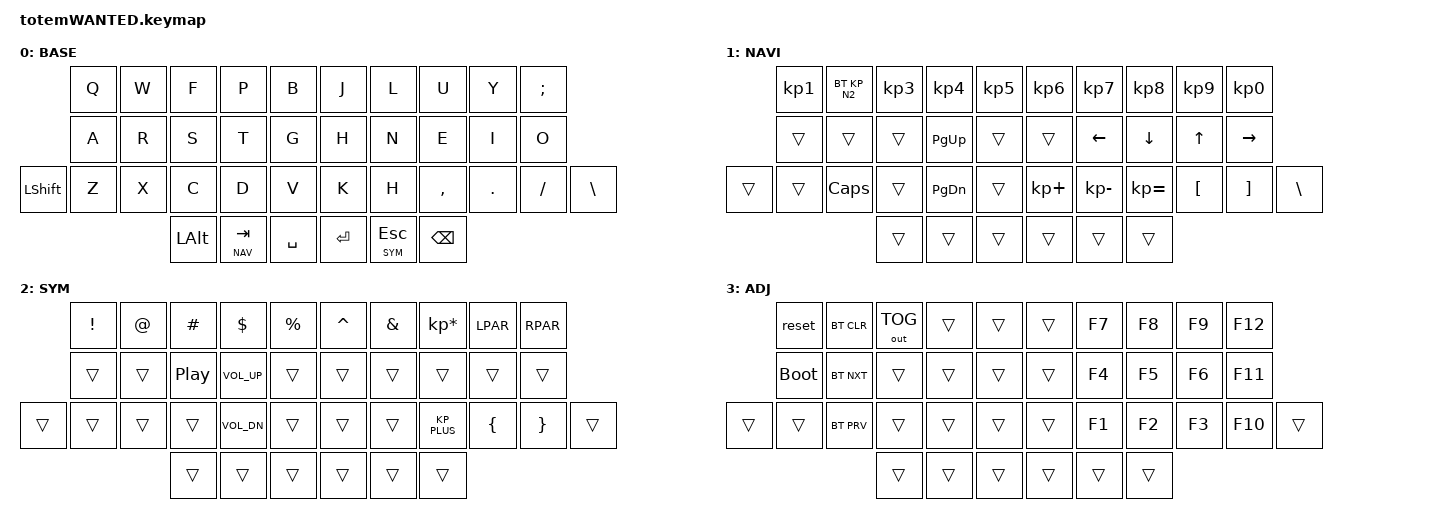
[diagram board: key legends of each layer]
//
//                                                        ▀▀▀▀▀     ▀▀▀▀▀          ▀▀█▀▀
//                                                        ▄▀▀▀▄  ▄  ▄▀▀▀▄  ▄  ▄▀▀▀▄  █  ▄▀▀▀▄
//                                                        █   █  █  █   █  █  █   █  █  █   █
//                                                         ▀▀▀   █   ▀▀▀   █   ▀▀▀   ▀   ▀▀▀
//                                                               █      ▄▄▄█▄▄▄    █   █  
//                                                               ▀      █  █  █     █▄█
//                                                             ▀▀▀▀▀    █  █  █      ▀
//                                                                      ▀  ▀  ▀
//
// ▄▄▄▄▄▄▄▄▄▄▄▄▄▄▄▄▄▄▄▄▄▄▄▄▄▄▄▄▄▄▄▄▄▄▄▄▄▄▄▄▄▄▄▄▄▄▄▄▄▄▄▄▄▄▄▄▄▄▄▄▄▄▄▄▄▄▄▄▄▄▄▄▄▄▄▄▄▄▄▄▄▄▄▄▄▄▄▄▄▄▄▄▄▄▄▄▄▄▄▄▄▄▄▄▄▄▄▄▄▄▄▄▄▄▄▄▄▄▄▄▄▄▄▄▄▄▄▄▄▄▄▄▄▄▄▄▄▄▄▄▄▄▄▄▄▄▄▄▄
       

#include <behaviors.dtsi>
#include <dt-bindings/zmk/keys.h>
#include <dt-bindings/zmk/bt.h>
#include <dt-bindings/zmk/outputs.h>

#define BASE 0
#define NAV  1
#define SYM  2
#define ADJ  3

&mt {
  quick-tap-ms = <100>;
  global-quick-tap;
  flavor = "tap-preferred";
  tapping-term-ms = <170>;
};

/ {
    combos {
            compatible = "zmk,combos";
            combo_esc {
                timeout-ms = <50>;
                key-positions = <0 1>;
                bindings = <&kp ESC>;
            };
    };

    macros {
        gif: gif {
            label = "giphy";
            compatible = "zmk,behavior-macro";
            #binding-cells = <0>;
            bindings
                = <&macro_press &kp LSHFT>
                , <&macro_tap &kp N2>
                , <&macro_release &kp LSHFT>
                , <&macro_tap &kp G &kp I &kp F>
                ;
        };
    };

        keymap {
                compatible = "zmk,keymap";
// ▄▄▄▄▄▄▄▄▄▄▄▄▄▄▄▄▄▄▄▄▄▄▄▄▄▄▄▄▄▄▄▄▄▄▄▄▄▄▄▄▄▄▄▄▄▄▄▄▄▄▄▄▄▄▄▄▄▄▄▄▄▄▄▄▄▄▄▄▄▄▄▄▄▄▄▄▄▄▄▄▄▄▄▄▄▄▄▄▄▄▄▄▄▄▄▄▄▄▄▄▄▄▄▄▄▄▄▄▄▄▄▄▄▄▄▄▄▄▄▄▄▄▄▄▄▄▄▄▄▄▄▄▄▄▄▄▄▄▄▄▄▄▄▄▄▄▄▄▄

                base_layer {
// ┏━━━━━━━━━━━━━━━━━━━━━━━━━━━━━━━━━━━━━━━┓
label= "BASE"                              ;
// ┗━━━━━━━━━━━━━━━━━━━━━━━━━━━━━━━━━━━━━━━┛
//             ┏━━━━━━━━━━━┳━━━━━━━━━━━┳━━━━━━━━━━━┳━━━━━━━━━━━┳━━━━━━━━━━━┓   ┏━━━━━━━━━━━┳━━━━━━━━━━━┳━━━━━━━━━━━┳━━━━━━━━━━━┳━━━━━━━━━━━┓
//             ┃     Q     ┃     W     ┃     F     ┃     P     ┃     B     ┃   ┃     J     ┃     L     ┃     U     ┃     Y     ┃     ;     ┃
//             ┣━━━━━━━━━━━╋━━━━━━━━━━━╋━━━━━━━━━━━╋━━━━━━━━━━━╋━━━━━━━━━━━┫   ┣━━━━━━━━━━━╋━━━━━━━━━━━╋━━━━━━━━━━━╋━━━━━━━━━━━╋━━━━━━━━━━━┫
//             ┃     A     ┃     R     ┃     S     ┃     T     ┃     G     ┃   ┃     H     ┃     N     ┃     E     ┃     I     ┃     O     ┃
// ┏━━━━━━━━━━━╋━━━━━━━━━━━╋━━━━━━━━━━━╋━━━━━━━━━━━╋━━━━━━━━━━━╋━━━━━━━━━━━┫   ┣━━━━━━━━━━━╋━━━━━━━━━━━╋━━━━━━━━━━━╋━━━━━━━━━━━╋━━━━━━━━━━━╋━━━━━━━━━━━┓
// ┃   SHIFT   ┃     Z     ┃     X     ┃     C     ┃     D     ┃     V     ┃   ┃     K     ┃     M     ┃     ,     ┃     .     ┃     /     ┃     \     ┃
// ┗━━━━━━━━━━━┻━━━━━━━━━━━┻━━━━━━━━━━━╋━━━━━━━━━━━╋━━━━━━━━━━━╋━━━━━━━━━━━┫   ┣━━━━━━━━━━━╋━━━━━━━━━━━╋━━━━━━━━━━━╋━━━━━━━━━━━┻━━━━━━━━━━━┻━━━━━━━━━━━┛
//                                     ┃    ALT    ┃    NAV    ┃    SPC    ┃   ┃   ENTER   ┃    ESC    ┃   BSPC    ┃
//                                     ┗━━━━━━━━━━━┻━━━━━━━━━━━┻━━━━━━━━━━━┛   ┗━━━━━━━━━━━┻━━━━━━━━━━━┻━━━━━━━━━━━┛
 bindings = <
// ╷           ╷           ╷           ╷           ╷           ╷           ╷   ╷           ╷           ╷           ╷           ╷           ╷           ╷

                &kp Q       &kp W       &kp F       &kp P       &kp B           &kp J       &kp L       &kp U       &kp Y       &kp SEMI
                &kp A       &kp R       &kp S       &kp T       &kp G           &kp H       &kp N       &kp E       &kp I       &kp O
    &kp LSHIFT  &kp Z       &kp X       &kp C       &kp D       &kp V           &kp K       &kp H       &kp COMMA   &kp DOT     &kp FSLH    &kp BSLH
                                        &kp LALT  &lt NAV TAB   &kp SPACE       &kp RET     &lt SYM ESC &kp BSPC
                        >;
                };

// ▄▄▄▄▄▄▄▄▄▄▄▄▄▄▄▄▄▄▄▄▄▄▄▄▄▄▄▄▄▄▄▄▄▄▄▄▄▄▄▄▄▄▄▄▄▄▄▄▄▄▄▄▄▄▄▄▄▄▄▄▄▄▄▄▄▄▄▄▄▄▄▄▄▄▄▄▄▄▄▄▄▄▄▄▄▄▄▄▄▄▄▄▄▄▄▄▄▄▄▄▄▄▄▄▄▄▄▄▄▄▄▄▄▄▄▄▄▄▄▄▄▄▄▄▄▄▄▄▄▄▄▄▄▄▄▄▄▄▄▄▄▄▄▄▄▄▄▄▄


                nav_layer {
// ┏━━━━━━━━━━━━━━━━━━━━━━━━━━━━━━━━━━━━━━━┓
label= "NAVI"                              ;
// ┗━━━━━━━━━━━━━━━━━━━━━━━━━━━━━━━━━━━━━━━┛
//             ┏━━━━━━━━━━━┳━━━━━━━━━━━┳━━━━━━━━━━━┳━━━━━━━━━━━┳━━━━━━━━━━━┓   ┏━━━━━━━━━━━┳━━━━━━━━━━━┳━━━━━━━━━━━┳━━━━━━━━━━━┳━━━━━━━━━━━┓
//             ┃    1      ┃     2     ┃     3     ┃     4     ┃     5     ┃   ┃     6     ┃     7     ┃     8     ┃     9     ┃     0     ┃
//             ┣━━━━━━━━━━━╋━━━━━━━━━━━╋━━━━━━━━━━━╋━━━━━━━━━━━╋━━━━━━━━━━━┫   ┣━━━━━━━━━━━╋━━━━━━━━━━━╋━━━━━━━━━━━╋━━━━━━━━━━━╋━━━━━━━━━━━┫
//             ┃           ┃           ┃           ┃   P UP    ┃           ┃   ┃           ┃   LEFT    ┃    DOWN   ┃     UP    ┃   RIGHT   ┃
// ┏━━━━━━━━━━━╋━━━━━━━━━━━╋━━━━━━━━━━━╋━━━━━━━━━━━╋━━━━━━━━━━━╋━━━━━━━━━━━┫   ┣━━━━━━━━━━━╋━━━━━━━━━━━╋━━━━━━━━━━━╋━━━━━━━━━━━╋━━━━━━━━━━━╋━━━━━━━━━━━┓
// ┃           ┃           ┃   C LOCK  ┃           ┃  P DOWN   ┃           ┃   ┃     +     ┃     -     ┃     =     ┃     [     ┃     ]     ┃     \     ┃
// ┗━━━━━━━━━━━┻━━━━━━━━━━━┻━━━━━━━━━━━╋━━━━━━━━━━━╋━━━━━━━━━━━╋━━━━━━━━━━━┫   ┣━━━━━━━━━━━╋━━━━━━━━━━━╋━━━━━━━━━━━╋━━━━━━━━━━━┻━━━━━━━━━━━┻━━━━━━━━━━━┛
//                                     ┃           ┃    TAB    ┃    SPC    ┃   ┃           ┃           ┃           ┃
//                                     ┗━━━━━━━━━━━┻━━━━━━━━━━━┻━━━━━━━━━━━┛   ┗━━━━━━━━━━━┻━━━━━━━━━━━┻━━━━━━━━━━━┛
 bindings = <
// ╷           ╷           ╷           ╷           ╷           ╷           ╷   ╷           ╷           ╷           ╷           ╷           ╷           ╷

                &kp KP_N1   &bt KP_N2   &kp KP_N3   &kp KP_N4   &kp KP_N5       &kp KP_N6   &kp KP_N7   &kp KP_N8   &kp KP_N9   &kp KP_N0
                &trans      &trans      &trans      &kp PG_UP   &trans          &trans      &kp LEFT    &kp DOWN    &kp UP      &kp RIGHT
    &trans      &trans      &kp CAPS    &trans      &kp PG_DN   &trans         &kp KP_PLUS &kp KP_MINUS &kp KP_EQUAL &kp LBKT    &kp RBKT      &kp BSLH      
                                        &trans      &trans      &trans          &trans      &trans      &trans      
                        >;
                };

// ▄▄▄▄▄▄▄▄▄▄▄▄▄▄▄▄▄▄▄▄▄▄▄▄▄▄▄▄▄▄▄▄▄▄▄▄▄▄▄▄▄▄▄▄▄▄▄▄▄▄▄▄▄▄▄▄▄▄▄▄▄▄▄▄▄▄▄▄▄▄▄▄▄▄▄▄▄▄▄▄▄▄▄▄▄▄▄▄▄▄▄▄▄▄▄▄▄▄▄▄▄▄▄▄▄▄▄▄▄▄▄▄▄▄▄▄▄▄▄▄▄▄▄▄▄▄▄▄▄▄▄▄▄▄▄▄▄▄▄▄▄▄▄▄▄▄▄▄▄


                sim_layer {
// ┏━━━━━━━━━━━━━━━━━━━━━━━━━━━━━━━━━━━━━━━┓
label= "SYM"                               ;
// ┗━━━━━━━━━━━━━━━━━━━━━━━━━━━━━━━━━━━━━━━┛
//             ┏━━━━━━━━━━━┳━━━━━━━━━━━┳━━━━━━━━━━━┳━━━━━━━━━━━┳━━━━━━━━━━━┓   ┏━━━━━━━━━━━┳━━━━━━━━━━━┳━━━━━━━━━━━┳━━━━━━━━━━━┳━━━━━━━━━━━┓
//             ┃     !     ┃     @     ┃     #     ┃     $     ┃     %     ┃   ┃     ^     ┃     &     ┃     *     ┃     (     ┃     )     ┃
//             ┣━━━━━━━━━━━╋━━━━━━━━━━━╋━━━━━━━━━━━╋━━━━━━━━━━━╋━━━━━━━━━━━┫   ┣━━━━━━━━━━━╋━━━━━━━━━━━╋━━━━━━━━━━━╋━━━━━━━━━━━╋━━━━━━━━━━━┫
//             ┃           ┃           ┃    PLAY   ┃    VOL+   ┃           ┃   ┃           ┃           ┃           ┃           ┃           ┃
// ┏━━━━━━━━━━━╋━━━━━━━━━━━╋━━━━━━━━━━━╋━━━━━━━━━━━╋━━━━━━━━━━━╋━━━━━━━━━━━┫   ┣━━━━━━━━━━━╋━━━━━━━━━━━╋━━━━━━━━━━━╋━━━━━━━━━━━╋━━━━━━━━━━━╋━━━━━━━━━━━┓
// ┃           ┃           ┃           ┃           ┃    VOL-   ┃           ┃   ┃           ┃     _     ┃     +     ┃     {     ┃     }     ┃           ┃
// ┗━━━━━━━━━━━┻━━━━━━━━━━━┻━━━━━━━━━━━╋━━━━━━━━━━━╋━━━━━━━━━━━╋━━━━━━━━━━━┫   ┣━━━━━━━━━━━╋━━━━━━━━━━━╋━━━━━━━━━━━╋━━━━━━━━━━━┻━━━━━━━━━━━┻━━━━━━━━━━━┛
//                                     ┃           ┃           ┃           ┃   ┃           ┃           ┃           ┃
//                                     ┗━━━━━━━━━━━┻━━━━━━━━━━━┻━━━━━━━━━━━┛   ┗━━━━━━━━━━━┻━━━━━━━━━━━┻━━━━━━━━━━━┛
 bindings = <
// ╷           ╷           ╷           ╷           ╷           ╷           ╷   ╷           ╷           ╷           ╷           ╷           ╷           ╷

                &kp EXCL    &kp AT      &kp HASH    &kp DLLR    &kp PRCNT       &kp CARET   &kp AMPS   &kp KP_MULTIPLY &LPAR   &RPAR 
                &trans      &trans      &kp C_PP   &kp C_VOL_UP &trans          &trans      &trans     &trans      &trans      &trans       
    &trans      &trans      &trans      &trans     &kp C_VOL_DN &trans          &trans      &trans     &KP_PLUS    &kp LBRC    &kp RBRC     &trans         
                                        &trans      &trans      &trans          &trans      &trans     &trans      
                        >;
                };

// ▄▄▄▄▄▄▄▄▄▄▄▄▄▄▄▄▄▄▄▄▄▄▄▄▄▄▄▄▄▄▄▄▄▄▄▄▄▄▄▄▄▄▄▄▄▄▄▄▄▄▄▄▄▄▄▄▄▄▄▄▄▄▄▄▄▄▄▄▄▄▄▄▄▄▄▄▄▄▄▄▄▄▄▄▄▄▄▄▄▄▄▄▄▄▄▄▄▄▄▄▄▄▄▄▄▄▄▄▄▄▄▄▄▄▄▄▄▄▄▄▄▄▄▄▄▄▄▄▄▄▄▄▄▄▄▄▄▄▄▄▄▄▄▄▄▄▄▄▄


                adjust_layer {
// ┏━━━━━━━━━━━━━━━━━━━━━━━━━━━━━━━━━━━━━━━┓
label= "ADJ"                               ;
// ┗━━━━━━━━━━━━━━━━━━━━━━━━━━━━━━━━━━━━━━━┛
//             ┏━━━━━━━━━━━┳━━━━━━━━━━━┳━━━━━━━━━━━┳━━━━━━━━━━━┳━━━━━━━━━━━┓   ┏━━━━━━━━━━━┳━━━━━━━━━━━┳━━━━━━━━━━━┳━━━━━━━━━━━┳━━━━━━━━━━━┓
//             ┃   RESET   ┃ BT CLEAR  ┃  OUT TOG  ┃           ┃           ┃   ┃           ┃    F7     ┃    F8     ┃    F9     ┃    F12    ┃
//             ┣━━━━━━━━━━━╋━━━━━━━━━━━╋━━━━━━━━━━━╋━━━━━━━━━━━╋━━━━━━━━━━━┫   ┣━━━━━━━━━━━╋━━━━━━━━━━━╋━━━━━━━━━━━╋━━━━━━━━━━━╋━━━━━━━━━━━┫
//             ┃ BOOTLOAD  ┃ BT NEXT   ┃           ┃           ┃           ┃   ┃           ┃    F4     ┃    F5     ┃    F6     ┃    F11    ┃
// ┏━━━━━━━━━━━╋━━━━━━━━━━━╋━━━━━━━━━━━╋━━━━━━━━━━━╋━━━━━━━━━━━╋━━━━━━━━━━━┫   ┣━━━━━━━━━━━╋━━━━━━━━━━━╋━━━━━━━━━━━╋━━━━━━━━━━━╋━━━━━━━━━━━╋━━━━━━━━━━━┓
// ┃           ┃           ┃ BT PREV   ┃           ┃           ┃           ┃   ┃           ┃    F1     ┃    F2     ┃    F3     ┃    F10    ┃           ┃
// ┗━━━━━━━━━━━┻━━━━━━━━━━━┻━━━━━━━━━━━╋━━━━━━━━━━━╋━━━━━━━━━━━╋━━━━━━━━━━━┫   ┣━━━━━━━━━━━╋━━━━━━━━━━━╋━━━━━━━━━━━╋━━━━━━━━━━━┻━━━━━━━━━━━┻━━━━━━━━━━━┛
//                                     ┃           ┃           ┃           ┃   ┃           ┃           ┃           ┃
//                                     ┗━━━━━━━━━━━┻━━━━━━━━━━━┻━━━━━━━━━━━┛   ┗━━━━━━━━━━━┻━━━━━━━━━━━┻━━━━━━━━━━━┛
 bindings = <
// ╷           ╷           ╷           ╷           ╷           ╷           ╷   ╷           ╷           ╷           ╷           ╷           ╷           ╷

                &reset      &bt BT_CLR &out OUT_TOG &trans      &trans          &trans      &kp F7      &kp F8      &kp F9      &kp F12
                &bootloader &bt BT_NXT  &trans      &trans      &trans          &trans      &kp F4      &kp F5      &kp F6      &kp F11  
    &trans      &trans      &bt BT_PRV  &trans      &trans      &trans          &trans      &kp F1      &kp F2      &kp F3      &kp F10     &trans         
                                        &trans      &trans      &trans          &trans      &trans      &trans      
                        >;
                };
        };
};
